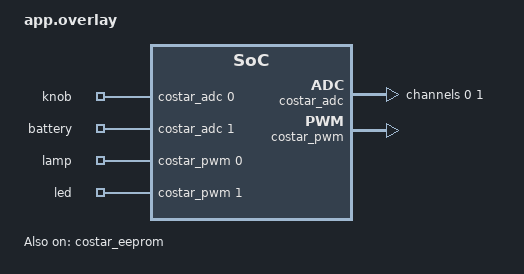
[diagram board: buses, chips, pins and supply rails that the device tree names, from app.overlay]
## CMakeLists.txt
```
cmake_minimum_required(VERSION 3.20.0)
find_package(Zephyr REQUIRED HINTS $ENV{ZEPHYR_BASE})
project(zephyr_adc_pwm_eeprom)

target_sources(app PRIVATE src/main.c)
```

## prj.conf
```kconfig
CONFIG_SYS_CLOCK_TICKS_PER_SEC=1000
CONFIG_BOOT_BANNER=n
CONFIG_ADC=y
CONFIG_ADC_ASYNC=y
CONFIG_PWM=y
CONFIG_EEPROM=y
```

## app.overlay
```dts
/*
 * A knob and a battery on ADC channels, a lamp and a status LED on PWM
 * channels, and settings in EEPROM: the costar shield's devices
 * (ports/zephyr/module), enabled.
 */
#include <zephyr/dt-bindings/pwm/pwm.h>

&costar_adc {
	status = "okay";

	channel@0 {
		reg = <0>;
		zephyr,gain = "ADC_GAIN_1";
		zephyr,reference = "ADC_REF_INTERNAL";
		zephyr,acquisition-time = <ADC_ACQ_TIME_DEFAULT>;
		zephyr,resolution = <12>;
	};

	channel@1 {
		reg = <1>;
		zephyr,gain = "ADC_GAIN_1_2";
		zephyr,reference = "ADC_REF_INTERNAL";
		zephyr,acquisition-time = <ADC_ACQ_TIME_DEFAULT>;
		zephyr,resolution = <8>;
		zephyr,oversampling = <4>;
	};
};

&costar_pwm {
	status = "okay";
};

&costar_eeprom {
	status = "okay";
};

/ {
	zephyr,user {
		io-channels = <&costar_adc 0>, <&costar_adc 1>;
		io-channel-names = "knob", "battery";
		pwms = <&costar_pwm 0 PWM_MSEC(1) PWM_POLARITY_NORMAL>,
		       <&costar_pwm 1 PWM_USEC(100) PWM_POLARITY_INVERTED>;
		pwm-names = "lamp", "led";
	};
};
```

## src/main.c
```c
/*
 * A dimmer — an ordinary Zephyr application that uses Zephyr's ADC, PWM and
 * EEPROM APIs on costar devices (see app.overlay).
 *
 * At boot it counts boots in EEPROM and says what the knob was last set to.
 * On the first boot it also checks what the drivers refuse, reads the
 * battery once, and samples the knob four times, a millisecond apart, with
 * an asynchronous read.  Then, every millisecond, it reads the knob (ADC
 * channel 0) and sets the lamp's duty cycle (PWM channel 0) to match,
 * saving each new knob position in EEPROM.  A status LED (PWM channel 1,
 * active low) glows at a quarter.
 */
#include <zephyr/drivers/adc.h>
#include <zephyr/drivers/eeprom.h>
#include <zephyr/drivers/pwm.h>
#include <zephyr/kernel.h>
#include <zephyr/sys/printk.h>

#define USER DT_PATH(zephyr_user)

static const struct adc_dt_spec knob = ADC_DT_SPEC_GET_BY_NAME(USER, knob);
static const struct adc_dt_spec battery = ADC_DT_SPEC_GET_BY_NAME(USER, battery);
static const struct pwm_dt_spec lamp = PWM_DT_SPEC_GET_BY_NAME(USER, lamp);
static const struct pwm_dt_spec led = PWM_DT_SPEC_GET_BY_NAME(USER, led);
static const struct device *const eeprom = DEVICE_DT_GET(DT_ALIAS(eeprom_0));

#define BOOTS_AT 0
#define KNOB_AT 4

static int read_sample(const struct adc_dt_spec *spec, uint16_t *sample)
{
	struct adc_sequence sequence = {.buffer = sample, .buffer_size = sizeof(*sample)};

	adc_sequence_init_dt(spec, &sequence);
	return adc_read_dt(spec, &sequence);
}

static void check_refusals(void)
{
	struct adc_channel_cfg differential = {
		.gain = ADC_GAIN_1, .reference = ADC_REF_INTERNAL, .channel_id = 2, .differential = 1};
	struct adc_channel_cfg missing = {.gain = ADC_GAIN_1, .reference = ADC_REF_INTERNAL, .channel_id = 9};
	uint16_t sample;
	struct adc_sequence unset = {.channels = BIT(2), .buffer = &sample, .buffer_size = 2, .resolution = 12};
	struct adc_sequence too_fine = {.channels = BIT(0), .buffer = &sample, .buffer_size = 2, .resolution = 17};
	struct adc_sequence too_small = {.channels = BIT(0), .buffer = &sample, .buffer_size = 1, .resolution = 12};

	printk("adc: differential %d, channel 9 %d, unset channel %d, 17 bits %d, small buffer %d\n",
	       adc_channel_setup(knob.dev, &differential), adc_channel_setup(knob.dev, &missing),
	       adc_read(knob.dev, &unset), adc_read(knob.dev, &too_fine), adc_read(knob.dev, &too_small));

	printk("pwm: pulse over period %d, channel 8 %d, other flags %d\n",
	       pwm_set_cycles(lamp.dev, 0, 100, 200, 0), pwm_set_cycles(lamp.dev, 8, 100, 50, 0),
	       pwm_set_cycles(lamp.dev, 0, 100, 50, BIT(8)));

	/* Unlike flash, a byte can be written over without erasing. */
	const uint8_t first = 0x12;
	const uint8_t second = 0x34;
	uint8_t byte = 0;
	int written = eeprom_write(eeprom, 8, &first, 1);

	written = written != 0 ? written : eeprom_write(eeprom, 8, &second, 1);

	eeprom_read(eeprom, 8, &byte, 1);
	printk("eeprom: %zu bytes, rewritten %d to 0x%02x, past the end %d\n", eeprom_get_size(eeprom),
	       written, byte, eeprom_write(eeprom, eeprom_get_size(eeprom) - 1, &first, 2));
}

static enum adc_action on_sampling(const struct device *dev, const struct adc_sequence *sequence,
				   uint16_t index)
{
	const uint16_t *samples = sequence->buffer;

	ARG_UNUSED(dev);
	printk("sampling %u at %u us: knob %u\n", index, k_cyc_to_us_floor32(k_cycle_get_32()),
	       samples[index]);
	return ADC_ACTION_CONTINUE;
}

/* Four samplings of the knob, a millisecond apart, without blocking. */
static void sample_knob_four_times(void)
{
	uint16_t samples[4];
	const struct adc_sequence_options options = {
		.interval_us = 1000, .extra_samplings = 3, .callback = on_sampling};
	struct adc_sequence sequence = {.buffer = samples, .buffer_size = sizeof(samples)};
	struct k_poll_signal done;
	struct k_poll_event event = K_POLL_EVENT_INITIALIZER(K_POLL_TYPE_SIGNAL, K_POLL_MODE_NOTIFY_ONLY, &done);

	adc_sequence_init_dt(&knob, &sequence);
	sequence.options = &options;
	k_poll_signal_init(&done);
	printk("async read: %d\n", adc_read_async(knob.dev, &sequence, &done));
	k_poll(&event, 1, K_FOREVER);
	printk("async read done: %d\n", done.result);
}

int main(void)
{
	if (!adc_is_ready_dt(&knob) || !pwm_is_ready_dt(&lamp) || !device_is_ready(eeprom)) {
		printk("devices not ready\n");
		return 1;
	}
	uint32_t boots;
	uint16_t saved;

	eeprom_read(eeprom, BOOTS_AT, &boots, sizeof(boots));
	boots = boots == UINT32_MAX ? 1 : boots + 1;
	eeprom_write(eeprom, BOOTS_AT, &boots, sizeof(boots));
	eeprom_read(eeprom, KNOB_AT, &saved, sizeof(saved));
	if (saved == UINT16_MAX) {
		printk("boot %u, no knob saved\n", boots);
	} else {
		printk("boot %u, knob saved at %u\n", boots, saved);
	}

	adc_channel_setup_dt(&knob);
	adc_channel_setup_dt(&battery);
	pwm_set_pulse_dt(&led, led.period / 4);
	if (boots == 1) {
		uint16_t level;

		check_refusals();
		read_sample(&battery, &level);
		int32_t mv = level;

		adc_raw_to_millivolts_dt(&battery, &mv);
		printk("battery %u: %d mV\n", level, mv);
		sample_knob_four_times();
	}

	uint16_t shown = UINT16_MAX;

	for (int64_t at = k_uptime_get();; at++) {
		uint16_t sample;

		k_sleep(K_TIMEOUT_ABS_MS(at));
		read_sample(&knob, &sample);
		if (sample == shown) {
			continue;
		}
		const uint32_t pulse = (uint64_t)lamp.period * sample / BIT_MASK(knob.resolution);
		int32_t mv = sample;

		shown = sample;
		adc_raw_to_millivolts_dt(&knob, &mv);
		pwm_set_pulse_dt(&lamp, pulse);
		eeprom_write(eeprom, KNOB_AT, &sample, sizeof(sample));
		printk("knob %u (%d mV): lamp %u ns of %u\n", sample, mv, pulse, lamp.period);
	}
}
```
